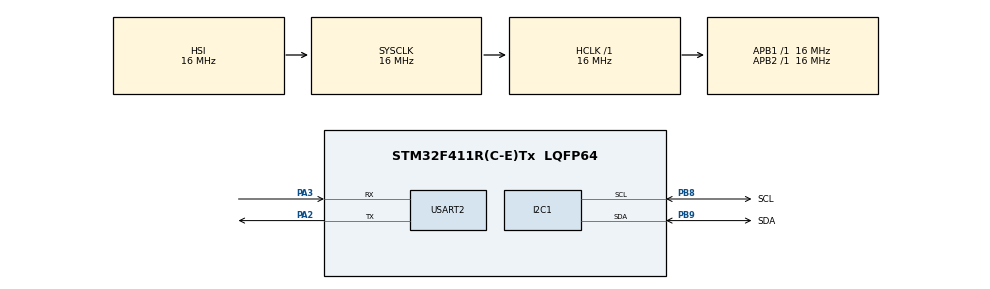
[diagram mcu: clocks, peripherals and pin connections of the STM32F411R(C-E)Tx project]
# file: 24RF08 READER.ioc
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Mcu.Family=STM32F4
Mcu.Name=STM32F411R(C-E)Tx
Mcu.Package=LQFP64
NVIC.PriorityGroup=NVIC_PRIORITYGROUP_4
PA2.Mode=Asynchronous
PA2.Signal=USART2_TX
PA3.Mode=Asynchronous
PA3.Signal=USART2_RX
PB8.GPIO_Label=SCL
PB8.GPIO_Pu=GPIO_PULLUP
PB8.Mode=I2C
PB8.Signal=I2C1_SCL
PB9.GPIO_Label=SDA
PB9.GPIO_Pu=GPIO_PULLUP
PB9.Mode=I2C
PB9.Signal=I2C1_SDA
ProjectManager.HeapSize=0x200
ProjectManager.StackSize=0x400
ProjectManager.TargetToolchain=STM32CubeIDE
RCC.AHBFreq_Value=16000000
RCC.APB1Freq_Value=16000000
RCC.APB2Freq_Value=16000000
RCC.CortexFreq_Value=16000000
RCC.HSE_VALUE=25000000
RCC.HSI_VALUE=16000000
RCC.LSE_VALUE=32768
RCC.SYSCLKFreq_VALUE=16000000
RCC.VCOOutputFreq_Value=192000000
USART2.VirtualMode=VM_ASYNC
board=custom

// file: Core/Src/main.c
/* USER CODE BEGIN Header */

/**
  ******************************************************************************
  * @file           : main.c
  * @brief          : Main program body
  ******************************************************************************
  * @attention
  *
  * Copyright (c) 2026 STMicroelectronics.
  * All rights reserved.
  *
  * This software is licensed under terms that can be found in the LICENSE file
  * in the root directory of this software component.
  * If no LICENSE file comes with this software, it is provided AS-IS.
  *
  ******************************************************************************
  */

/* USER CODE END Header */
#include "main.h"

/* USER CODE BEGIN Includes */

#include <stdbool.h>
#include <stdint.h>
#include <stdio.h>
#include <string.h>
#include <stdarg.h>

typedef uint8_t byte;
typedef bool boolean;

/* USER CODE END Includes */

/* USER CODE BEGIN PD */

#define confTableSize 64

/* USER CODE END PD */

I2C_HandleTypeDef hi2c1;

UART_HandleTypeDef huart2;

/* USER CODE BEGIN PV */

byte orgData[16];

byte kornData[10] = {
    0x00, 0x00,
    //0x25, 0x18, 0x13, 0x31, 0x00, 0x00, 0x00, 0x81};//password korn
    //0x02, 0x03, 0x04, 0x04, 0x00, 0x00, 0x00, 0x0e};//password 1234
    0x00, 0x00, 0x00, 0x00, 0x00, 0x00, 0x00, 0x00
};// clear password

/* USER CODE END PV */

void SystemClock_Config(void);
static void MX_GPIO_Init(void);
static void MX_I2C1_Init(void);
static void MX_USART2_UART_Init(void);
/* USER CODE BEGIN PFP */

void UART_Print(const char *message);
void UART_Printf(const char *format, ...);
char UART_ReadChar(void);

boolean send_i2c_data(byte *data, byte byte_count);
boolean receive_i2c_data(byte addr, byte *received);

static void dumpEeprom(boolean debug);
static void readPassword(const char *table);
static void setPwKorn(void);

/* USER CODE END PFP */

/* USER CODE BEGIN 0 */

static const char convTable[256] = {
		' ', ' ', '1', '2', '3', '4', '5', '6',    '7', '8', '9', '0', '-', '=', ' ', ' ',
		'Q', 'W', 'E', 'R', 'T', 'Y', 'U', 'I',    'O', 'P', ' ', '$', ' ', ' ', 'A', 'S',
		'D', 'F', 'G', 'H', 'J', 'K', 'L', ';',    '\'','`', '\\','\\','Z', 'X', 'C', 'V',
		'B', 'N', 'M', ',', '.', '/', '"', '*',    ' ', ' ', ' ', ' ', 'f', 'f', 'f', 'f',

		'f', 'f', 'f', 'f', 'f', ' ', ' ', '7',    '8', '9', '-', '4', '5', '6', '+', '1',
		'2', '3', '0', '.', ' ', ' ', '>', ' ',    ' ', ' ', ' ', ' ', ' ', ' ', ' ', ' ',
		' ', ' ', ' ', ' ', ' ', ' ', ' ', ' ',    ' ', ' ', ' ', ' ', ' ', ' ', ' ', ' ',
		' ', ' ', ' ', ' ', ' ', ' ', ' ', ' ',    ' ', ' ', ' ', ' ', ' ', ' ', ' ', ' ',

		' ', ' ', ' ', ' ', ' ', ' ', ' ', ' ',    ' ', ' ', ' ', ' ', ' ', ' ', ' ', ' ',
		' ', ' ', ' ', ' ', ' ', ' ', ' ', ' ',    ' ', ' ', ' ', ' ', ' ', ' ', ' ', ' ',
		' ', ' ', ' ', ' ', ' ', ' ', ' ', ' ',    ' ', ' ', ' ', ' ', ' ', ' ', ' ', ' ',
		' ', ' ', ' ', ' ', ' ', ' ', ' ', ' ',    ' ', ' ', ' ', ' ', ' ', ' ', ' ', ' ',

		' ', ' ', ' ', ' ', ' ', ' ', ' ', ' ',    ' ', ' ', ' ', ' ', ' ', ' ', ' ', ' ',
		' ', ' ', ' ', ' ', ' ', ' ', ' ', ' ',    ' ', ' ', ' ', ' ', ' ', ' ', ' ', ' ',
		' ', ' ', ' ', ' ', ' ', ' ', ' ', ' ',    ' ', ' ', ' ', ' ', ' ', ' ', ' ', ' ',
		' ', ' ', ' ', ' ', ' ', ' ', ' ', ' ',    ' ', ' ', ' ', ' ', ' ', ' ', ' ', ' ',
		};

static const char convTableAlternate[256] = {
		' ', ' ', ' ', ' ', '1', '1', '2', '3',    '3', '3', '4', '4', '5', '5', '6', '6',
		'7', '7', '8', '8', '9', '9', '0', '0',    '-', '-', '=', '=', ' ', ' ', ' ', ' ',
		'Q', 'Q', 'W', 'W', 'E', 'E', 'R', 'R',    'T', 'T', 'Y', 'Y', 'U', 'U', 'I', 'I',
		'O', 'O', 'P', 'P', ' ', ' ', '$', '$',    ' ', ' ', ' ', ' ', 'A', 'A', 'S', 'S',

		'D', 'D', 'F', 'F', 'G', 'G', 'H', 'H',    'J', 'J', 'K', 'K', 'L', 'L', ';', ';',
		'\'','\'','`', '`', '\\','\\','\\','\\',   'Z', 'Z', 'X', 'X', 'C', 'C', 'V', 'V',
		'B', 'B', 'N', 'N', 'M', 'M', ',', ',',    '.', '.', '/', '/', '"', '"', '*', '*',
		' ', ' ', ' ', ' ', ' ', ' ', 'f', 'f',    'f', 'f', 'f', 'f', 'f', 'f', 'f', 'f',

		'f', 'f', 'f', 'f', 'f', 'f', 'f', 'f',    'f', 'f', ' ', ' ', ' ', ' ', '7', '7',
		'8', '8', '9', '9', '-', '-', '4', '4',    '5', '5', '6', '6', '+', '+', '1', '1',
		'2', '2', '3', '3', '0', '0', '.', '.',    ' ', ' ', ' ', ' ', '>', '>', ' ', ' ',
		' ', ' ', ' ', ' ', ' ', ' ', ' ', ' ',    ' ', ' ', ' ', ' ', ' ', ' ', ' ', ' ',

		' ', ' ', ' ', ' ', ' ', ' ', ' ', ' ',    ' ', ' ', ' ', ' ', ' ', ' ', ' ', ' ',
		' ', ' ', ' ', ' ', ' ', ' ', ' ', ' ',    ' ', ' ', ' ', ' ', ' ', ' ', ' ', ' ',
		' ', ' ', ' ', ' ', ' ', ' ', ' ', ' ',    ' ', ' ', ' ', ' ', ' ', ' ', ' ', ' ',
		' ', ' ', ' ', ' ', ' ', ' ', ' ', ' ',    ' ', ' ', ' ', ' ', ' ', ' ', ' ', ' ',
		};

/* USER CODE END 0 */

int main(void)
{

  /* MCU Configuration--------------------------------------------------------*/

  /* Reset of all peripherals, Initializes the Flash interface and the Systick. */
  HAL_Init();

  /* Configure the system clock */
  SystemClock_Config();

  /* Initialize all configured peripherals */
  MX_GPIO_Init();
  MX_I2C1_Init();
  MX_USART2_UART_Init();
  /* USER CODE BEGIN 2 */

  HAL_Delay(20);

  /* USER CODE END 2 */

  /* Infinite loop */
  while (1)
  {

    /* USER CODE BEGIN 3 */

    UART_Print("\r\n\r\n\r\nDeif Thinkpad Eeprom Reader\r\n");
    UART_Print("Usage:\r\n");
    UART_Print("p: Read the Password in Plaintext\r\n");
    UART_Print("w: Read the Password in Plaintext (alternate Scancode)\r\n");
    UART_Print("d: Dump the Eeprom in HEX format (for import in IBMpass)\r\n");
    UART_Print("g: Dump the Eeprom in Text format (for debug)\r\n");
    UART_Print("h: Clear the password\r\n");
    UART_Print("> ");

    char c = UART_ReadChar();
    while (c == '\r' || c == '\n')
        c = UART_ReadChar();

    if (c == 'p')
        readPassword(convTable);
    else if (c == 'w')
        readPassword(convTableAlternate);
    else if (c == 'd')
        dumpEeprom(false);
    else if (c == 'g')
        dumpEeprom(true);
    else if (c == 'h'){
        UART_Print("\r\nThis operation writes zeroes to EEPROM password data.\r\n");
        UART_Print("Type Y to confirm, any other key to cancel: ");

        if (UART_ReadChar() == 'Y')
            setPwKorn();
        else
            UART_Print("\r\nWrite cancelled.\r\n");
    }
    else
        UART_Print("\r\nUnknown command!\r\n");

  }
  /* USER CODE END 3 */
}

void SystemClock_Config(void)
{
  RCC_OscInitTypeDef RCC_OscInitStruct = {0};
  RCC_ClkInitTypeDef RCC_ClkInitStruct = {0};

  /** Configure the main internal regulator output voltage
  */
  __HAL_RCC_PWR_CLK_ENABLE();
  __HAL_PWR_VOLTAGESCALING_CONFIG(PWR_REGULATOR_VOLTAGE_SCALE1);

  /** Initializes the RCC Oscillators according to the specified parameters
  * in the RCC_OscInitTypeDef structure.
  */
  RCC_OscInitStruct.OscillatorType = RCC_OSCILLATORTYPE_HSI;
  RCC_OscInitStruct.HSIState = RCC_HSI_ON;
  RCC_OscInitStruct.HSICalibrationValue = RCC_HSICALIBRATION_DEFAULT;
  RCC_OscInitStruct.PLL.PLLState = RCC_PLL_NONE;
  if (HAL_RCC_OscConfig(&RCC_OscInitStruct) != HAL_OK)
  {
    Error_Handler();
  }

  /** Initializes the CPU, AHB and APB buses clocks
  */
  RCC_ClkInitStruct.ClockType = RCC_CLOCKTYPE_HCLK|RCC_CLOCKTYPE_SYSCLK
                              |RCC_CLOCKTYPE_PCLK1|RCC_CLOCKTYPE_PCLK2;
  RCC_ClkInitStruct.SYSCLKSource = RCC_SYSCLKSOURCE_HSI;
  RCC_ClkInitStruct.AHBCLKDivider = RCC_SYSCLK_DIV1;
  RCC_ClkInitStruct.APB1CLKDivider = RCC_HCLK_DIV1;
  RCC_ClkInitStruct.APB2CLKDivider = RCC_HCLK_DIV1;

  if (HAL_RCC_ClockConfig(&RCC_ClkInitStruct, FLASH_LATENCY_0) != HAL_OK)
  {
    Error_Handler();
  }
}

static void MX_I2C1_Init(void)
{

  hi2c1.Instance = I2C1;
  hi2c1.Init.ClockSpeed = 100000;
  hi2c1.Init.DutyCycle = I2C_DUTYCYCLE_2;
  hi2c1.Init.OwnAddress1 = 0;
  hi2c1.Init.AddressingMode = I2C_ADDRESSINGMODE_7BIT;
  hi2c1.Init.DualAddressMode = I2C_DUALADDRESS_DISABLE;
  hi2c1.Init.OwnAddress2 = 0;
  hi2c1.Init.GeneralCallMode = I2C_GENERALCALL_DISABLE;
  hi2c1.Init.NoStretchMode = I2C_NOSTRETCH_DISABLE;
  if (HAL_I2C_Init(&hi2c1) != HAL_OK)
  {
    Error_Handler();
  }

}

static void MX_USART2_UART_Init(void)
{

  huart2.Instance = USART2;
  huart2.Init.BaudRate = 115200;
  huart2.Init.WordLength = UART_WORDLENGTH_8B;
  huart2.Init.StopBits = UART_STOPBITS_1;
  huart2.Init.Parity = UART_PARITY_NONE;
  huart2.Init.Mode = UART_MODE_TX_RX;
  huart2.Init.HwFlowCtl = UART_HWCONTROL_NONE;
  huart2.Init.OverSampling = UART_OVERSAMPLING_16;
  if (HAL_UART_Init(&huart2) != HAL_OK)
  {
    Error_Handler();
  }

}

static void MX_GPIO_Init(void)
{

  /* GPIO Ports Clock Enable */
  __HAL_RCC_GPIOA_CLK_ENABLE();
  __HAL_RCC_GPIOB_CLK_ENABLE();

}

/* USER CODE BEGIN 4 */

//returns false on nack
boolean send_i2c_data(byte *data, byte byte_count){
    HAL_StatusTypeDef status;

    if (data == NULL || byte_count < 2)
        return false;

    status = HAL_I2C_Master_Transmit(&hi2c1,
                                     (uint16_t)data[0],
                                     &data[1],
                                     (uint16_t)(byte_count - 1U),
                                     1000);

    if (status != HAL_OK){
        UART_Printf("xNACK!! I2C transmit error: %d\r\n", (int)status);
        return false;
    }
    HAL_Delay(10);

    return true;
}

boolean receive_i2c_data(byte addr, byte *received){
    HAL_StatusTypeDef status;

    if (received == NULL)
        return false;

    status = HAL_I2C_Master_Receive(&hi2c1,
                                   (uint16_t)(addr & 0xFEU),
                                   received,
                                   1,
                                   1000);

    if (status != HAL_OK){
        UART_Printf("yNACK!! I2C receive error: %d\r\n", (int)status);
        return false;
    }

    return true;
}

void UART_Print(const char *message){
    HAL_UART_Transmit(&huart2,
                      (uint8_t *)message,
                      (uint16_t)strlen(message),
                      HAL_MAX_DELAY);
}

void UART_Printf(const char *format, ...){
    char buffer[160];
    va_list args;

    va_start(args, format);
    int length = vsnprintf(buffer, sizeof(buffer), format, args);
    va_end(args);

    if (length < 0)
        return;

    if (length >= (int)sizeof(buffer))
        length = (int)sizeof(buffer) - 1;

    HAL_UART_Transmit(&huart2,
                      (uint8_t *)buffer,
                      (uint16_t)length,
                      HAL_MAX_DELAY);
}

char UART_ReadChar(void){
    uint8_t received = 0;

    if (HAL_UART_Receive(&huart2, &received, 1, HAL_MAX_DELAY) != HAL_OK)
        return '\0';

    return (char)received;
}

static void dumpEeprom(boolean debug){
    byte page = 0;
    byte data[2];
    byte dat = 0;
    boolean res;

    data[0] = 0xa8 | 0x00;
    data[1] = 0;

    UART_Print("Dump the whole eeprom: \r\n");

    while (true){
        res = send_i2c_data(data, 2);
        if (!res){
            UART_Print("   NACK   \r\n");
            UART_Print("!!! Error !!! Reading Eeprom failed!\r\n");
            return;
        }

        if (!receive_i2c_data((byte)(data[0] | 0x01), &dat)){
            UART_Print("!!! Error !!! Reading Eeprom failed!\r\n");
            return;
        }

        if (debug){
            UART_Printf("Page %u; %u: %X => 0x",
                        (unsigned int)(page + 1U),
                        (unsigned int)data[1],
                        (unsigned int)((unsigned int)data[1] +
                                       255U * (unsigned int)page));
        }

        if (dat < 0x10)
            UART_Print("0");

        UART_Printf("%X ", (unsigned int)dat);

        if (debug){
            UART_Printf(" => %c => %c\r\n",
                        convTable[dat],
                        convTableAlternate[dat]);
        }

        data[1]++;
        if (data[1] == 0){
            if (page == 0){
                data[0] = 0xa8 | 0x02;
                page = 1;
            }
            else if (page == 1){
                data[0] = 0xa8 | 0x04;
                page = 2;
            }
            else if (page == 2){
                data[0] = 0xa8 | 0x06;
                page = 3;
            }
            else if (page == 3){
                UART_Print("\r\n");
                return;
            }
            data[1] = 0;
        }
    }
}

static void readPassword(const char *table){
    byte data[2];
    byte dat = 0;
    boolean res;

    data[0] = 0xa8 | 0x06;
    data[1] = 56;

    UART_Print("The Supervisor Password is: ");

    while (true){
        res = send_i2c_data(data, 2);

        if (!res){
            UART_Print("   NACK   \r\n");
            UART_Print("!!! Error !!! Could not read the Password!\r\n");
            return;
        }

        if (!receive_i2c_data((byte)(data[0] | 0x01), &dat)){
            UART_Print("!!! Error !!! Could not read the Password!\r\n");
            return;
        }
        UART_Printf("%c", table[dat]);

        data[1]++;

        if (data[1] > 62){
            UART_Print("\r\n");
            return;
        }
    }
}

/*
void readAccessProt(){
    byte data[2];

    UART_Print("Access Page: ");

    data[0] = 0xa8;
    data[1] = 0;
    boolean res = send_i2c_data(data,2);

    for (byte i = 0; i < 10; i++) {
        data[0] = 0xb8;
        data[1] = i;
        //boolean res = send_i2c_data(data,2);
        byte dat = 0;
        receive_i2c_data((byte)(data[0] | 0x01), &dat);
        if (dat < 0x10) UART_Print("0");
        UART_Printf("%X ", dat);
    }

    UART_Print("\r\n");
}*/

static void setPwKorn(void){
    byte data[2];
    byte dat = 0;
    int i = 0;
    boolean res;

    data[0] = 0xa8 | 0x06;
    data[1] = 56;

    UART_Print("Original data:\r\n");

    while (true){
        res = send_i2c_data(data, 2);

        if (!res){
            UART_Print("   NACK   \r\n");
            UART_Print("!!! Error !!! Could not read the Password!\r\n");
            return;
        }

        if (!receive_i2c_data((byte)(data[0] | 0x01), &dat)){
            UART_Print("!!! Error !!! Could not read the Password!\r\n");
            return;
        }

        orgData[i++] = dat;

        if (dat < 0x10)
            UART_Print("0");

        UART_Printf("%X ", (unsigned int)dat);

        data[1]++;

        if (data[1] > 71){
            UART_Print("\r\n");
            break;
        }
    }

    kornData[0] = 0xa8 | 0x06;
    kornData[1] = 56;
    res = send_i2c_data(kornData, 10);

    if (!res){
        UART_Print("   NACK   \r\n");
        UART_Print("!!! Error !!! Could not set the Password!\r\n");
        return;
    }

    kornData[0] = 0xa8 | 0x06;
    kornData[1] = 64;
    res = send_i2c_data(kornData, 10);

    if (!res){
        UART_Print("   NACK2   \r\n");
        UART_Print("!!! Error !!! Could not set the Password!\r\n");
        return;
    }

    UART_Print("Write transactions completed. Read back the EEPROM to verify.\r\n");
}

/* USER CODE END 4 */

void Error_Handler(void)
{
  __disable_irq();
  while (1)
  {
  }
}
